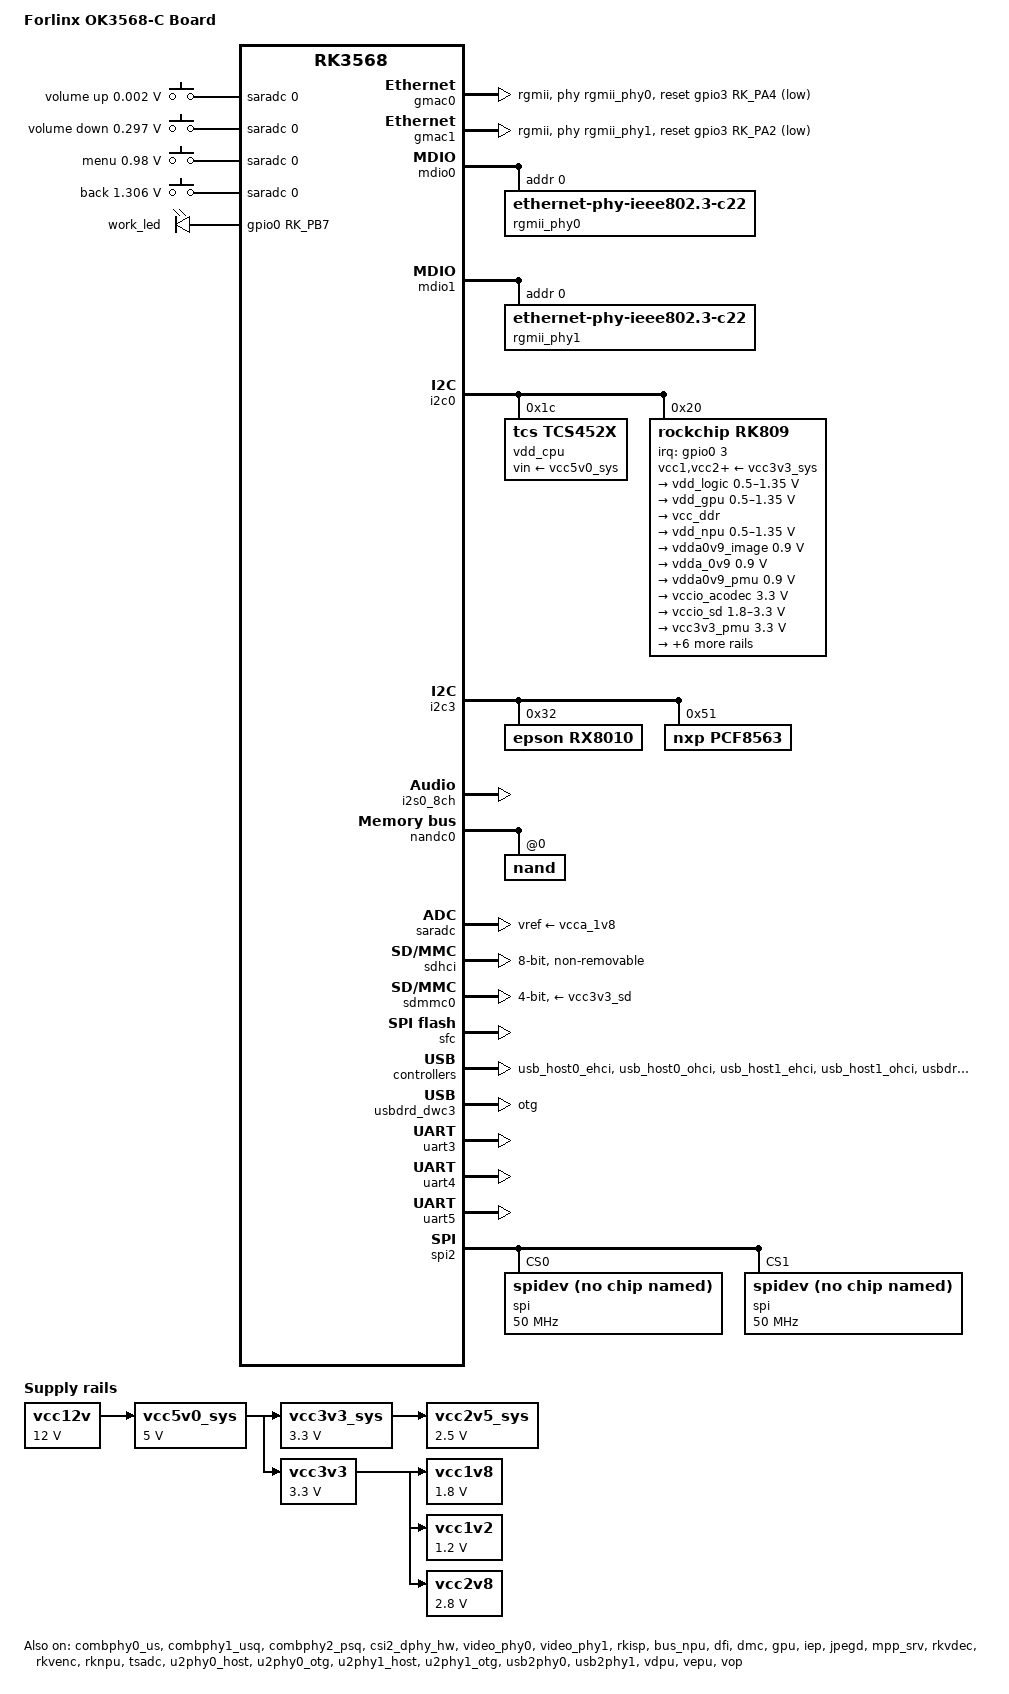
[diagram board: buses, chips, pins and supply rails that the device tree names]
// SPDX-License-Identifier: (GPL-2.0+ OR MIT)
/*
 * Copyright (c) 2020 Rockchip Electronics Co., Ltd.
 *
 */

/dts-v1/;

#include <dt-bindings/gpio/gpio.h>
#include <dt-bindings/pwm/pwm.h>
#include <dt-bindings/pinctrl/rockchip.h>
#include <dt-bindings/input/rk-input.h>
#include <dt-bindings/display/drm_mipi_dsi.h>
#include <dt-bindings/display/rockchip_vop.h>
#include <dt-bindings/display/media-bus-format.h>
#include <dt-bindings/sensor-dev.h>
#include "rk3568.dtsi"

/ {
	model = "Forlinx OK3568-C Board";
	compatible = "forlinx,ok3568", "rockchip,rk3568-evb1-ddr4-v10", "rockchip,rk3568";


	forlinx_control {
		status = "okay";
		video-hdmi = "hdmi";
		video-mipi-edp = "off";
		video-lvds-rgb = "off";
	};

	adc_keys: adc-keys {
		compatible = "adc-keys";
		io-channels = <&saradc 0>;
		io-channel-names = "buttons";
		keyup-threshold-microvolt = <1800000>;
		poll-interval = <100>;

		vol-up-key {
			label = "volume up";
			linux,code = <KEY_VOLUMEUP>;
			press-threshold-microvolt = <1750>;
		};

		vol-down-key {
			label = "volume down";
			linux,code = <KEY_VOLUMEDOWN>;
			press-threshold-microvolt = <297500>;
		};

		menu-key {
			label = "menu";
			linux,code = <KEY_MENU>;
			press-threshold-microvolt = <980000>;
		};

		back-key {
			label = "back";
			linux,code = <KEY_BACK>;
			press-threshold-microvolt = <1305500>;
		};
	};

	leds: leds {
		compatible = "gpio-leds";
		work_led: work {
			gpios = <&gpio0 RK_PB7 GPIO_ACTIVE_HIGH>;
			linux,default-trigger = "heartbeat";
		};
	};

	hdmi_sound: hdmi-sound {
                status = "okay";
                compatible = "rockchip,hdmi";
                rockchip,mclk-fs = <128>;
                rockchip,card-name = "rockchip,hdmi";
                rockchip,cpu = <&i2s0_8ch>;
                rockchip,codec = <&hdmi>;
                rockchip,jack-det;
        };

	pdmics: dummy-codec {
		status = "disabled";
		compatible = "rockchip,dummy-codec";
		#sound-dai-cells = <0>;
	};

	pdm_mic_array: pdm-mic-array {
		status = "disabled";
		compatible = "simple-audio-card";
		simple-audio-card,name = "rockchip,pdm-mic-array";
		simple-audio-card,cpu {
			sound-dai = <&pdm>;
		};
		simple-audio-card,codec {
			sound-dai = <&pdmics>;
		};
	};

	vcc12v: vcc-12v {
		compatible = "regulator-fixed";
		regulator-name = "vcc12v";
		regulator-always-on;
		regulator-boot-on;
		regulator-min-microvolt = <12000000>;
		regulator-max-microvolt = <12000000>;
	};

	vcc5v0_sys: vcc5v0-sys {
		compatible = "regulator-fixed";
		regulator-name = "vcc5v0_sys";
		regulator-always-on;
		regulator-boot-on;
		regulator-min-microvolt = <5000000>;
		regulator-max-microvolt = <5000000>;
		vin-supply = <&vcc12v>;
	};

	vcc3v3_sys: vcc3v3-sys {
		compatible = "regulator-fixed";
		regulator-name = "vcc3v3_sys";
		regulator-always-on;
		regulator-boot-on;
		regulator-min-microvolt = <3300000>;
		regulator-max-microvolt = <3300000>;
		vin-supply = <&vcc5v0_sys>;
	};

	//for main board
	vcc3v3: vcc-3v3 {
		compatible = "regulator-fixed";
		regulator-name = "vcc3v3";
		regulator-always-on;
		regulator-boot-on;
		regulator-min-microvolt = <3300000>;
		regulator-max-microvolt = <3300000>;
		vin-supply = <&vcc5v0_sys>;
	};

	vcc1v8: vcc-1v8 {
		compatible = "regulator-fixed";
		regulator-name = "vcc1v8";
		regulator-always-on;
		regulator-boot-on;
		regulator-min-microvolt = <1800000>;
		regulator-max-microvolt = <1800000>;
		vin-supply = <&vcc3v3>;
	};

	vcc1v2: vcc-1v2 {
		compatible = "regulator-fixed";
		regulator-name = "vcc1v2";
		regulator-always-on;
		regulator-boot-on;
		regulator-min-microvolt = <1200000>;
		regulator-max-microvolt = <1200000>;
		vin-supply = <&vcc3v3>;
	};

	vcc2v8: vcc-2v8 {
		compatible = "regulator-fixed";
		regulator-name = "vcc2v8";
		regulator-always-on;
		regulator-boot-on;
		regulator-min-microvolt = <2800000>;
		regulator-max-microvolt = <2800000>;
		vin-supply = <&vcc3v3>;
	};

	vcc2v5_sys: vcc2v5-ddr {
		compatible = "regulator-fixed";
		regulator-name = "vcc2v5-sys";
		regulator-always-on;
		regulator-boot-on;
		regulator-min-microvolt = <2500000>;
		regulator-max-microvolt = <2500000>;
		vin-supply = <&vcc3v3_sys>;
	};

	test-power {
                status = "okay";
        };


};

&combphy0_us {
	status = "okay";
};

&combphy1_usq {
	status = "okay";
};

&combphy2_psq {
	status = "okay";
};

&csi2_dphy_hw {
	status = "okay";
};



&gmac0 {
        phy-mode = "rgmii";
        clock_in_out = "output";

        snps,reset-gpio = <&gpio3 RK_PA4 GPIO_ACTIVE_LOW>;
        snps,reset-active-low;
        /* Reset time is 20ms, 100ms for rtl8211f */
        snps,reset-delays-us = <0 20000 100000>;

        assigned-clocks = <&cru SCLK_GMAC0_RX_TX>, <&cru SCLK_GMAC0>, <&cru CLK_MAC0_OUT>;
        assigned-clock-parents = <&cru SCLK_GMAC0_RGMII_SPEED>;
        assigned-clock-rates = <0>, <125000000>, <25000000>;

        pinctrl-names = "default";
        pinctrl-0 = <&gmac0_miim
                     &gmac0_tx_bus2
                     &gmac0_rx_bus2
                     &gmac0_rgmii_clk
                     &gmac0_rgmii_bus
                         &eth0_pins>;

        tx_delay = <0x2f>;
        rx_delay = <0x00>;

        phy-handle = <&rgmii_phy0>;
        status = "okay";
};

&gmac1 {
        phy-mode = "rgmii";
        clock_in_out = "output";

        snps,reset-gpio = <&gpio3 RK_PA2 GPIO_ACTIVE_LOW>;
        snps,reset-active-low;
        /* Reset time is 20ms, 100ms for rtl8211f */
        snps,reset-delays-us = <0 20000 100000>;

        assigned-clocks = <&cru SCLK_GMAC1_RX_TX>, <&cru SCLK_GMAC1>, <&cru CLK_MAC1_OUT>;
        assigned-clock-parents = <&cru SCLK_GMAC1_RGMII_SPEED>;
        assigned-clock-rates = <0>, <125000000>, <25000000>;

        pinctrl-names = "default";
        pinctrl-0 = <&gmac1m1_miim
                     &gmac1m1_tx_bus2
                     &gmac1m1_rx_bus2
                     &gmac1m1_rgmii_clk
                     &gmac1m1_rgmii_bus
                         &eth1m1_pins>;

        tx_delay = <0x35>;
        rx_delay = <0x00>;

        phy-handle = <&rgmii_phy1>;
        status = "okay";
};

&mdio0 {
        rgmii_phy0: phy@0 {
                compatible = "ethernet-phy-ieee802.3-c22";
                reg = <0x0>;
                clocks = <&cru CLK_MAC0_OUT>;
        };
};

&mdio1 {
        rgmii_phy1: phy@0 {
                compatible = "ethernet-phy-ieee802.3-c22";
                reg = <0x0>;
                clocks = <&cru CLK_MAC1_OUT>;
        };
};

&video_phy0 {
	status = "okay";
};

&video_phy1 {
	status = "okay";
};

&pcie30phy {
	status = "disabled";
};

&pcie3x2 {
	reset-gpios = <&gpio0 RK_PC6 GPIO_ACTIVE_HIGH>;
	enable-gpios = <&gpio0 RK_PA5 GPIO_ACTIVE_HIGH>;
	vpcie3v3-supply = <&vcc3v3_sys>;
	status = "disabled";
};

&pcie2x1 {
	reset-gpios = <&gpio0 RK_PB6 GPIO_ACTIVE_HIGH>;
	vpcie3v3-supply = <&vcc3v3_sys>;
	status = "disabled";
};

&pinctrl {
	pmic {
		pmic_int: pmic_int {
			rockchip,pins =
				<0 RK_PA3 RK_FUNC_GPIO &pcfg_pull_up>;
		};

		soc_slppin_gpio: soc_slppin_gpio {
			rockchip,pins =
				<0 RK_PA2 RK_FUNC_GPIO &pcfg_output_low_pull_down>;
		};

		soc_slppin_slp: soc_slppin_slp {
			rockchip,pins =
				<0 RK_PA2 1 &pcfg_pull_up>;
		};

		soc_slppin_rst: soc_slppin_rst {
			rockchip,pins =
				<0 RK_PA2 2 &pcfg_pull_none>;
		};
        };

        sdio-pwrseq {
                wifi_enable_h: wifi-enable-h {
                        rockchip,pins = <3 RK_PD4 RK_FUNC_GPIO &pcfg_pull_none>;
                };
        };
};

&rkisp {
	status = "okay";
};

&rkisp_mmu {
	status = "okay";
};

&bus_npu {
        bus-supply = <&vdd_logic>;
        pvtm-supply = <&vdd_cpu>;
        status = "okay";
};

&can0 {
        assigned-clocks = <&cru CLK_CAN0>;
        assigned-clock-rates = <200000000>;
        pinctrl-names = "default";
        pinctrl-0 = <&can0m0_pins>;
        status = "disabled";
};

&can1 {
        assigned-clocks = <&cru CLK_CAN1>;
        assigned-clock-rates = <200000000>;
        pinctrl-names = "default";
        pinctrl-0 = <&can1m1_pins>;
        status = "disabled";
};

&can2 {
        assigned-clocks = <&cru CLK_CAN2>;
        assigned-clock-rates = <150000000>;
        pinctrl-names = "default";
        pinctrl-0 = <&can2m1_pins>;
        status = "disabled";
};

&cpu0 {
        cpu-supply = <&vdd_cpu>;
};

&dfi {
        status = "okay";
};

&dmc {
        center-supply = <&vdd_logic>;
        status = "okay";
};

&gpu {
        mali-supply = <&vdd_gpu>;
        status = "okay";
};

&i2c0 {
	status = "okay";

	vdd_cpu: tcs4525@1c {
		compatible = "tcs,tcs452x";
		reg = <0x1c>;
		vin-supply = <&vcc5v0_sys>;
		regulator-compatible = "fan53555-reg";
		regulator-name = "vdd_cpu";
		regulator-min-microvolt = <712500>;
		regulator-max-microvolt = <1390000>;
		regulator-init-microvolt = <900000>;
		regulator-ramp-delay = <2300>;
		fcs,suspend-voltage-selector = <1>;
		regulator-boot-on;
		regulator-always-on;
		regulator-state-mem {
			regulator-off-in-suspend;
		};
	};

	rk809: pmic@20 {
		compatible = "rockchip,rk809";
		reg = <0x20>;
		interrupt-parent = <&gpio0>;
		interrupts = <3 IRQ_TYPE_LEVEL_LOW>;

		pinctrl-names = "default", "pmic-sleep",
			"pmic-power-off", "pmic-reset";
		pinctrl-0 = <&pmic_int>;
		pinctrl-1 = <&soc_slppin_slp>, <&rk817_slppin_slp>;
		pinctrl-2 = <&soc_slppin_gpio>, <&rk817_slppin_pwrdn>;
		pinctrl-3 = <&soc_slppin_gpio>, <&rk817_slppin_rst>;

		rockchip,system-power-controller;
		wakeup-source;
		#clock-cells = <1>;
		clock-output-names = "rk808-clkout1", "rk808-clkout2";
                //fb-inner-reg-idxs = <2>;
                /* 1: rst regs (default in codes), 0: rst the pmic */
		pmic-reset-func = <0>;
		/* not save the PMIC_POWER_EN register in uboot */
		not-save-power-en = <1>;
		
		vcc1-supply = <&vcc3v3_sys>;
		vcc2-supply = <&vcc3v3_sys>;
		vcc3-supply = <&vcc3v3_sys>;
		vcc4-supply = <&vcc3v3_sys>;
		vcc5-supply = <&vcc3v3_sys>;
		vcc6-supply = <&vcc3v3_sys>;
		vcc7-supply = <&vcc3v3_sys>;
		vcc8-supply = <&vcc3v3_sys>;
		vcc9-supply = <&vcc3v3_sys>;

		pwrkey {
			status = "okay";
		};

		pinctrl_rk8xx: pinctrl_rk8xx {
			gpio-controller;
			#gpio-cells = <2>;

			rk817_slppin_null: rk817_slppin_null {
				pins = "gpio_slp";
				function = "pin_fun0";
			};

			rk817_slppin_slp: rk817_slppin_slp {
				pins = "gpio_slp";
				function = "pin_fun1";
			};

			rk817_slppin_pwrdn: rk817_slppin_pwrdn {
				pins = "gpio_slp";
				function = "pin_fun2";
			};

			rk817_slppin_rst: rk817_slppin_rst {
				pins = "gpio_slp";
				function = "pin_fun3";
			};
		};

                regulators {
                        vdd_logic: DCDC_REG1 {
				regulator-always-on;
				regulator-boot-on;
				regulator-min-microvolt = <500000>;
				regulator-max-microvolt = <1350000>;
				regulator-init-microvolt = <900000>;
				regulator-ramp-delay = <6001>;
				regulator-initial-mode = <0x2>;
				regulator-name = "vdd_logic";
				regulator-state-mem {
				        regulator-off-in-suspend;
				};
                        };

                        vdd_gpu: DCDC_REG2 {
				regulator-always-on;
				regulator-boot-on;
				regulator-min-microvolt = <500000>;
				regulator-max-microvolt = <1350000>;
				regulator-init-microvolt = <900000>;
				regulator-ramp-delay = <6001>;
				regulator-initial-mode = <0x2>;
				regulator-name = "vdd_gpu";
				regulator-state-mem {
				        regulator-off-in-suspend;
				};
                        };

                        vcc_ddr: DCDC_REG3 {
				regulator-always-on;
				regulator-boot-on;
				regulator-initial-mode = <0x2>;
				regulator-name = "vcc_ddr";
				regulator-state-mem {
				        regulator-on-in-suspend;
				};
                        };

                        vdd_npu: DCDC_REG4 {
				regulator-always-on;
				regulator-boot-on;
				regulator-min-microvolt = <500000>;
				regulator-max-microvolt = <1350000>;
				regulator-init-microvolt = <900000>;
				regulator-ramp-delay = <6001>;
				regulator-initial-mode = <0x2>;
				regulator-name = "vdd_npu";
				regulator-state-mem {
				        regulator-off-in-suspend;
				};
                        };

                        vdda0v9_image: LDO_REG1 {
				regulator-boot-on;
				regulator-always-on;
				regulator-min-microvolt = <900000>;
				regulator-max-microvolt = <900000>;
				regulator-name = "vdda0v9_image";
				regulator-state-mem {
				        regulator-off-in-suspend;
				};
                        };

                        vdda_0v9: LDO_REG2 {
				regulator-always-on;
				regulator-boot-on;
				regulator-min-microvolt = <900000>;
				regulator-max-microvolt = <900000>;
				regulator-name = "vdda_0v9";
				regulator-state-mem {
				        regulator-off-in-suspend;
				};
                        };

                        vdda0v9_pmu: LDO_REG3 {
				regulator-always-on;
				regulator-boot-on;
				regulator-min-microvolt = <900000>;
				regulator-max-microvolt = <900000>;
				regulator-name = "vdda0v9_pmu";
				regulator-state-mem {
				        regulator-on-in-suspend;
				        regulator-suspend-microvolt = <900000>;
				};
                        };

                        vccio_acodec: LDO_REG4 {
				regulator-always-on;
				regulator-boot-on;
				regulator-min-microvolt = <3300000>;
				regulator-max-microvolt = <3300000>;
				regulator-name = "vccio_acodec";
				regulator-state-mem {
				        regulator-off-in-suspend;
				};
                        };

                        vccio_sd: LDO_REG5 {
				regulator-always-on;
				regulator-boot-on;
				regulator-min-microvolt = <1800000>;
				regulator-max-microvolt = <3300000>;
				regulator-name = "vccio_sd";
				regulator-state-mem {
				        regulator-off-in-suspend;
				};
                        };

                        vcc3v3_pmu: LDO_REG6 {
				regulator-always-on;
				regulator-boot-on;
				regulator-min-microvolt = <3300000>;
				regulator-max-microvolt = <3300000>;
				regulator-name = "vcc3v3_pmu";
				regulator-state-mem {
				        regulator-on-in-suspend;
				        regulator-suspend-microvolt = <3300000>;
				};
                        };

                        vcca_1v8: LDO_REG7 {
				regulator-always-on;
				regulator-boot-on;
				regulator-min-microvolt = <1800000>;
				regulator-max-microvolt = <1800000>;
				regulator-name = "vcca_1v8";
				regulator-state-mem {
				        regulator-off-in-suspend;
				};
                        };

                        vcca1v8_pmu: LDO_REG8 {
				regulator-always-on;
				regulator-boot-on;
				regulator-min-microvolt = <1800000>;
				regulator-max-microvolt = <1800000>;
				regulator-name = "vcca1v8_pmu";
				regulator-state-mem {
					regulator-on-in-suspend;
					regulator-suspend-microvolt = <1800000>;
				};
                        };

                        vcca1v8_image: LDO_REG9 {
				regulator-always-on;
				regulator-boot-on;
				regulator-min-microvolt = <1800000>;
				regulator-max-microvolt = <1800000>;
				regulator-name = "vcca1v8_image";
				regulator-state-mem {
				        regulator-off-in-suspend;
				};
                        };

                        vcc_1v8: DCDC_REG5 {
				regulator-always-on;
				regulator-boot-on;
				regulator-min-microvolt = <1800000>;
				regulator-max-microvolt = <1800000>;
				regulator-name = "vcc_1v8";
				regulator-state-mem {
				        regulator-off-in-suspend;
				};
                        };

                        vcc_3v3: SWITCH_REG1 {
				regulator-always-on;
				regulator-boot-on;
				regulator-name = "vcc_3v3";
				regulator-state-mem {
				        regulator-off-in-suspend;
				};
                        };

                        vcc3v3_sd: SWITCH_REG2 {
                                regulator-always-on;
                                regulator-boot-on;
                                regulator-name = "vcc3v3_sd";
                                regulator-state-mem {
                                        regulator-off-in-suspend;
                                };
                        };
                };

                rk809_codec: codec {
                        #sound-dai-cells = <0>;
                        compatible = "rockchip,rk809-codec", "rockchip,rk817-codec";
                        clocks = <&cru I2S1_MCLKOUT>;
                        clock-names = "mclk";
                        assigned-clocks = <&cru I2S1_MCLKOUT>, <&cru I2S1_MCLK_TX_IOE>;
                        assigned-clock-rates = <12288000>;
                        assigned-clock-parents = <&cru I2S1_MCLKOUT_TX>, <&cru I2S1_MCLKOUT_TX>;
                        pinctrl-names = "default";
                        pinctrl-0 = <&i2s1m0_mclk>;
                        hp-volume = <20>;
                        spk-volume = <3>;
                        mic-in-differential;
                        status = "okay";
                };
        };
};

&i2c3 {
        status = "okay";

        rx8010: rx8010@32 {
                compatible = "epson,rx8010";
                reg = <0x32>;
        };

        pcf8563: pcf8563@51 {
                compatible = "nxp,pcf8563";
                reg = <0x51>;
                #clock-cells = <0>;
        };
};

&i2s0_8ch {
        status = "okay";
};


&iep {
        status = "okay";
};

&iep_mmu {
        status = "okay";
};

&jpegd {
        status = "okay";
};

&jpegd_mmu {
        status = "okay";
};

&mpp_srv {
        status = "okay";
};

&nandc0 {
        #address-cells = <1>;
        #size-cells = <0>;
        status = "okay";

        nand@0 {
                reg = <0>;
                nand-bus-width = <8>;
                nand-ecc-mode = "hw";
                nand-ecc-strength = <16>;
                nand-ecc-step-size = <1024>;
        };
};

 /*
  * There are 10 independent IO domains in RK3566/RK3568, including PMUIO[0:2] and VCCIO[1:7].
  * 1/ PMUIO0 and PMUIO1 are fixed-level power domains which cannot be configured;
  * 2/ PMUIO2 and VCCIO1,VCCIO[3:7] domains require that their hardware power supply voltages
  *    must be consistent with the software configuration correspondingly
  *     a/ When the hardware IO level is connected to 1.8V, the software voltage configuration
  *        should also be configured to 1.8V accordingly;
  *     b/ When the hardware IO level is connected to 3.3V, the software voltage configuration
  *        should also be configured to 3.3V accordingly;
  * 3/ VCCIO2 voltage control selection (0xFDC20140)
  *     BIT[0]: 0x0: from GPIO_0A7 (default)
  *     BIT[0]: 0x1: from GRF
  *    Default is determined by Pin FLASH_VOL_SEL/GPIO0_A7:
  *     L:VCCIO2 must supply 3.3V
  *     H:VCCIO2 must supply 1.8V
  */
&pmu_io_domains {
	status = "okay";
	pmuio1-supply = <&vcc3v3_pmu>;
	pmuio2-supply = <&vcc3v3_pmu>;
	vccio1-supply = <&vccio_acodec>;
	vccio3-supply = <&vccio_sd>;
	vccio4-supply = <&vcc_1v8>;
	vccio5-supply = <&vcc_3v3>;
	vccio6-supply = <&vcc_1v8>;
	vccio7-supply = <&vcc_3v3>;
};

&rk_rga {
        status = "disabled";
};

&rkvdec {
        status = "okay";
};

&rkvdec_mmu {
        status = "okay";
};

&rkvenc {
        venc-supply = <&vdd_logic>;
        status = "okay";
};

&rkvenc_mmu {
        status = "okay";
};

&rknpu {
        rknpu-supply = <&vdd_npu>;
        status = "okay";
};

&rknpu_mmu {
        status = "okay";
};

&saradc {
        status = "okay";
        vref-supply = <&vcca_1v8>;
};

&sdhci {
        bus-width = <8>;
        supports-emmc;
        non-removable;
        max-frequency = <200000000>;
        status = "okay";
};

&sdmmc0 {
        max-frequency = <150000000>;
        supports-sd;
        bus-width = <4>;
        cap-mmc-highspeed;
        cap-sd-highspeed;
        disable-wp;
        sd-uhs-sdr104;
        vmmc-supply = <&vcc3v3_sd>;
        vqmmc-supply = <&vccio_sd>;
        pinctrl-names = "default";
        pinctrl-0 = <&sdmmc0_bus4 &sdmmc0_clk &sdmmc0_cmd &sdmmc0_det>;
        status = "okay";
};

&sfc {
        status = "okay";
};

&spdif_8ch {
	status = "disabled";
	pinctrl-names = "default";
	pinctrl-0 = <&spdifm1_tx>;
};

&tsadc {
        status = "okay";
};

&u2phy0_host {
        status = "okay";
};

&u2phy0_otg {
        status = "okay";
};

&u2phy1_host {
        status = "okay";
};

&u2phy1_otg {
        status = "okay";
};

&usb2phy0 {
        status = "okay";
};

&usb2phy1 {
        status = "okay";
};

&usb_host0_ehci {
        status = "okay";
};

&usb_host0_ohci {
        status = "okay";
};

&usb_host1_ehci {
        status = "okay";
};

&usb_host1_ohci {
        status = "okay";
};

&usbdrd_dwc3 {
        dr_mode = "otg";
        extcon = <&usb2phy0>;
        status = "okay";
};

&usbdrd30 {
        status = "okay";
};

&usbhost_dwc3 {
        status = "okay";
};

&usbhost30 {
        status = "okay";
};

&vad {
        rockchip,audio-src = <&i2s1_8ch>;
        rockchip,buffer-time-ms = <128>;
        rockchip,det-channel = <0>;
        rockchip,mode = <0>;
};

&vdpu {
        status = "okay";
};

&vdpu_mmu {
        status = "okay";
};

&vepu {
        status = "okay";
};

&vepu_mmu {
        status = "okay";
};

&vop {
	status = "okay";
	assigned-clocks = <&cru DCLK_VOP0>, <&cru DCLK_VOP1>, <&cru DCLK_VOP2>;
	assigned-clock-parents = <&pmucru PLL_HPLL>, <&cru PLL_VPLL>, <&cru PLL_GPLL>;
};

&vop_mmu {
        status = "okay";
};




&rgb_in_vp2 {
        status = "disabled";
};

/*
 * video_phy1 needs to be enabled
 * when dsi1 is enabled
 */


&dsi1_in_vp0 {
	status = "disabled";
};

&dsi1_in_vp1 {
	status = "disabled";
};



&hdmi {
        status = "disabled";
        rockchip,phy-table =
                <92812500  0x8009 0x0000 0x0270>,
                <165000000 0x800b 0x0000 0x026d>,
                <185625000 0x800b 0x0000 0x01ed>,
                <297000000 0x800b 0x0000 0x01ad>,
                <594000000 0x8029 0x0000 0x0088>,
                <000000000 0x0000 0x0000 0x0000>;
};

&hdmi_in_vp0 {
        status = "disabled";
};

&hdmi_in_vp1 {
        status = "disabled";
};

&route_hdmi {
        status = "disabled";
        connect = <&vp0_out_hdmi>;
};



&xin32k {
        status = "disabled";
};

&uart3 {
        status = "okay";
        pinctrl-names = "default";
        pinctrl-0 = <&uart3m1_xfer>;
};

&uart4 {
        status = "okay";
        pinctrl-names = "default";
        pinctrl-0 = <&uart4m1_xfer>;
};

&uart5 {
        status = "okay";
        pinctrl-names = "default";
        pinctrl-0 = <&uart5m1_xfer>;
};

&spi0 {
        pinctrl-names = "default", "high_speed";
        pinctrl-0 = <&spi0m1_cs0 &spi0m1_pins>;
        pinctrl-1 = <&spi0m1_cs0 &spi0m1_pins_hs>;
        status = "disabled";

        spi@0 {
                compatible = "rockchip,spidev";
                reg = <0>;
                spi-max-frequency = <50000000>;
        };
};

&spi2 {
        pinctrl-names = "default", "high_speed";
        pinctrl-0 = <&spi2m1_cs0 &spi2m1_cs1 &spi2m1_pins>;
        pinctrl-1 = <&spi2m1_cs0 &spi2m1_cs1 &spi2m1_pins_hs>;
        status = "okay";

        spi@0 {
                compatible = "rockchip,spidev";
                reg = <0>;
                spi-max-frequency = <50000000>;
        };

        spi@1 {
                compatible = "rockchip,spidev";
                reg = <1>;
                spi-max-frequency = <50000000>;
        };
};
